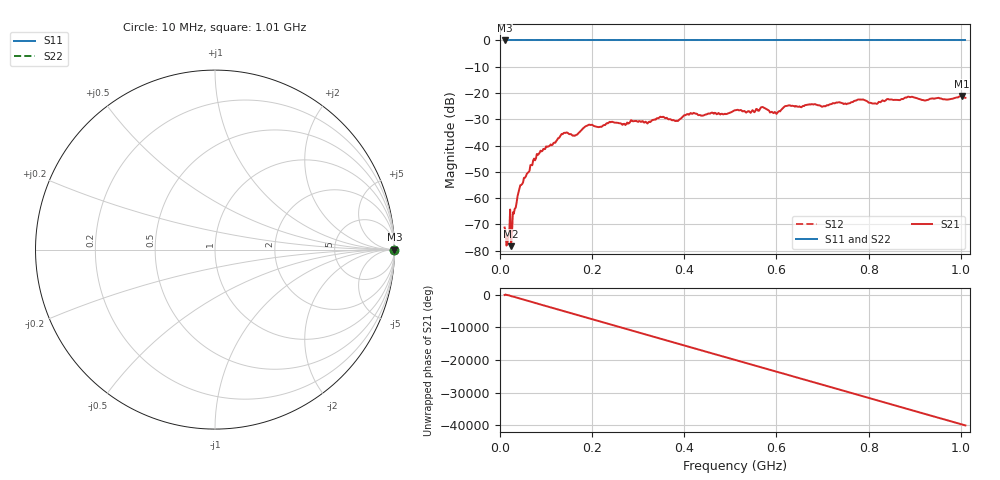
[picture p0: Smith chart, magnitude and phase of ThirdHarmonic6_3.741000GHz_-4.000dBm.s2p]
! 8/17/2025 12:48:22 PM
! C:\ANRITSUVNA\TEMP\TEMP.S2P
! CHANNEL.1
! TR.MEASUREMENT
! RAW.DATA
! RF.CORRECTION.OFF
! AVERAGING.OFF
! IF.BANDWIDTH: 5KHZ
! SWEEPTYPE:  FREQ.SWEEP(Linear)
! Reference Plane Port Info
! PORT:  PORT1  PORT2
! DISTANCE:  0  m  0  m
! TIME:  0  s  0  s
! PHASE.OFFSET:  0  deg.  0  deg.
! LOSS:  0  dB  0  dB
! REF.LOSS:  0  dB  0  dB
! REF.FREQ:  0  Hz  0  Hz
! Power Info
! POWER:  -20  dBm  -20  dBm
! EFF.POWER:  -20  dBm  -20  dBm
! SOURCE.ATTEN:  0  dB  0  dB
! TEST.ATTEN:  0  dB  0  dB
# GHZ S RI R 50.0
! FREQ.GHZ  S11RE  S11IM  S21RE  S21IM  S12RE  S12IM  S22RE  S22IM
!; PortSelection: Port_12
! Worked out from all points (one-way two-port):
!   501 points, 10 MHz to 1.01 GHz, reference 50 ohm
!   highest |S21| = -21.18 dB at 1.002 GHz (marker M1); lowest = -78.3 dB at 24 MHz (marker M2)
!   lowest |S11| = 0.0 dB at 10 MHz (marker M3)
!   |S11| at or under -10 dB: nowhere
!   |S22| runs from 0.0 to 0.0 dB; largest |S21 - S12| = 1.1
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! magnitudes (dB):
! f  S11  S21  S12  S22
! 10 MHz  0.0  -71.2  0.0  0.0
! 16 MHz  0.0  -77.5  0.0  0.0
! 24 MHz  0.0  -78.3  0.0  0.0
! 28 MHz  0.0  -65.4  0.0  0.0
! 32 MHz  0.0  -64.1  0.0  0.0
! 42 MHz  0.0  -56.6  0.0  0.0
! 76 MHz  0.0  -45.6  0.0  0.0
! 136 MHz  0.0  -35.7  0.0  0.0
! 162 MHz  0.0  -36.3  0.0  0.0
! 178 MHz  0.0  -33.9  0.0  0.0
! 194 MHz  0.0  -32.0  0.0  0.0
! 344 MHz  0.0  -29.6  0.0  0.0
! 384 MHz  0.0  -30.5  0.0  0.0
! 416 MHz  0.0  -27.9  0.0  0.0
! 510 MHz  0.0  -26.6  0.0  0.0
! 570 MHz  0.0  -25.3  0.0  0.0
! 598 MHz  0.0  -27.4  0.0  0.0
! 624 MHz  0.0  -24.8  0.0  0.0
! 678 MHz  0.0  -24.3  0.0  0.0
! 844 MHz  0.0  -22.4  0.0  0.0
! 1.002 GHz  0.0  -21.2  0.0  0.0
! 1.01 GHz  0.0  -21.8  0.0  0.0
